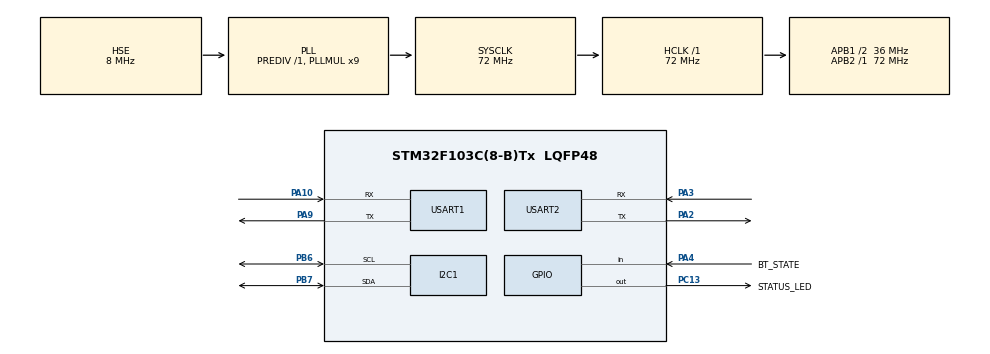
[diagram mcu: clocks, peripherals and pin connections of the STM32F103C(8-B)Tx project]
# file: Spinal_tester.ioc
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Dma.Request0=USART2_TX
Dma.Request1=USART2_RX
Dma.Request2=USART1_TX
Dma.Request3=USART1_RX
Dma.USART1_RX.3.Direction=DMA_PERIPH_TO_MEMORY
Dma.USART1_RX.3.Instance=DMA1_Channel5
Dma.USART1_RX.3.MemDataAlignment=DMA_MDATAALIGN_BYTE
Dma.USART1_RX.3.MemInc=DMA_MINC_ENABLE
Dma.USART1_RX.3.Mode=DMA_CIRCULAR
Dma.USART1_RX.3.PeriphDataAlignment=DMA_PDATAALIGN_BYTE
Dma.USART1_RX.3.PeriphInc=DMA_PINC_DISABLE
Dma.USART1_RX.3.Priority=DMA_PRIORITY_MEDIUM
Dma.USART1_TX.2.Direction=DMA_MEMORY_TO_PERIPH
Dma.USART1_TX.2.Instance=DMA1_Channel4
Dma.USART1_TX.2.MemDataAlignment=DMA_MDATAALIGN_BYTE
Dma.USART1_TX.2.MemInc=DMA_MINC_ENABLE
Dma.USART1_TX.2.Mode=DMA_NORMAL
Dma.USART1_TX.2.PeriphDataAlignment=DMA_PDATAALIGN_BYTE
Dma.USART1_TX.2.PeriphInc=DMA_PINC_DISABLE
Dma.USART1_TX.2.Priority=DMA_PRIORITY_MEDIUM
Dma.USART2_RX.1.Direction=DMA_PERIPH_TO_MEMORY
Dma.USART2_RX.1.Instance=DMA1_Channel6
Dma.USART2_RX.1.MemDataAlignment=DMA_MDATAALIGN_BYTE
Dma.USART2_RX.1.MemInc=DMA_MINC_ENABLE
Dma.USART2_RX.1.Mode=DMA_CIRCULAR
Dma.USART2_RX.1.PeriphDataAlignment=DMA_PDATAALIGN_BYTE
Dma.USART2_RX.1.PeriphInc=DMA_PINC_DISABLE
Dma.USART2_RX.1.Priority=DMA_PRIORITY_MEDIUM
Dma.USART2_TX.0.Direction=DMA_MEMORY_TO_PERIPH
Dma.USART2_TX.0.Instance=DMA1_Channel7
Dma.USART2_TX.0.MemDataAlignment=DMA_MDATAALIGN_BYTE
Dma.USART2_TX.0.MemInc=DMA_MINC_ENABLE
Dma.USART2_TX.0.Mode=DMA_NORMAL
Dma.USART2_TX.0.PeriphDataAlignment=DMA_PDATAALIGN_BYTE
Dma.USART2_TX.0.PeriphInc=DMA_PINC_DISABLE
Dma.USART2_TX.0.Priority=DMA_PRIORITY_MEDIUM
FREERTOS.INCLUDE_vTaskDelayUntil=1
FREERTOS.Tasks01=defaultTask,0,128,StartDefaultTask,Default,NULL,Dynamic,NULL,NULL
Mcu.Family=STM32F1
Mcu.Name=STM32F103C(8-B)Tx
Mcu.Package=LQFP48
NVIC.DMA1_Channel4_IRQn=true\:6\:0\:true\:false\:true\:true\:false\:true\:true
NVIC.DMA1_Channel5_IRQn=true\:6\:0\:true\:false\:true\:true\:false\:true\:true
NVIC.DMA1_Channel6_IRQn=true\:6\:0\:true\:false\:true\:true\:false\:true\:true
NVIC.DMA1_Channel7_IRQn=true\:6\:0\:true\:false\:true\:true\:false\:true\:true
NVIC.PriorityGroup=NVIC_PRIORITYGROUP_4
NVIC.TIM2_IRQn=true\:5\:0\:true\:false\:true\:true\:true\:true\:true
NVIC.TIM3_IRQn=true\:6\:0\:true\:false\:true\:true\:true\:true\:true
NVIC.TIM4_IRQn=true\:15\:0\:false\:false\:true\:false\:false\:true\:true
NVIC.TimeBase=TIM4_IRQn
NVIC.TimeBaseIP=TIM4
NVIC.USART1_IRQn=true\:6\:0\:true\:false\:true\:true\:false\:true\:true
NVIC.USART2_IRQn=true\:6\:0\:true\:false\:true\:true\:false\:true\:true
PA10.Mode=Asynchronous
PA10.Signal=USART1_RX
PA13.Mode=Serial_Wire
PA13.Signal=SYS_JTMS-SWDIO
PA14.Mode=Serial_Wire
PA14.Signal=SYS_JTCK-SWCLK
PA2.Mode=Asynchronous
PA2.Signal=USART2_TX
PA3.Mode=Asynchronous
PA3.Signal=USART2_RX
PA4.GPIO_Label=BT_STATE
PA4.GPIO_PuPd=GPIO_PULLDOWN
PA4.Signal=GPIO_Input
PA9.Mode=Asynchronous
PA9.Signal=USART1_TX
PB6.Mode=I2C
PB6.Signal=I2C1_SCL
PB7.Mode=I2C
PB7.Signal=I2C1_SDA
PC13.GPIO_Label=STATUS_LED
PC13.PinState=GPIO_PIN_SET
PC13.Signal=GPIO_Output
PD0-OSC_IN.Mode=HSE-External-Oscillator
PD0-OSC_IN.Signal=RCC_OSC_IN
PD1-OSC_OUT.Mode=HSE-External-Oscillator
PD1-OSC_OUT.Signal=RCC_OSC_OUT
ProjectManager.HeapSize=0x200
ProjectManager.StackSize=0x400
ProjectManager.TargetToolchain=CMake
RCC.AHBFreq_Value=72000000
RCC.APB1CLKDivider=RCC_HCLK_DIV2
RCC.APB1Freq_Value=36000000
RCC.APB1TimFreq_Value=72000000
RCC.APB2Freq_Value=72000000
RCC.APB2TimFreq_Value=72000000
RCC.HCLKFreq_Value=72000000
RCC.PLLMUL=RCC_PLL_MUL9
RCC.PLLSourceVirtual=RCC_PLLSOURCE_HSE
RCC.SYSCLKFreq_VALUE=72000000
RCC.SYSCLKSource=RCC_SYSCLKSOURCE_PLLCLK
RCC.USBFreq_Value=72000000
TIM2.Period=65535
TIM2.Prescaler=71
TIM3.Period=199
TIM3.Prescaler=7199
USART1.VirtualMode=VM_ASYNC
USART2.VirtualMode=VM_ASYNC
VP_FREERTOS_VS_CMSIS_V1.Mode=CMSIS_V1
VP_SYS_VS_tim4.Mode=TIM4
VP_TIM2_VS_ClockSourceINT.Mode=Internal
VP_TIM3_VS_ClockSourceINT.Mode=Internal
board=custom

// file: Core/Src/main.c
/* USER CODE BEGIN Header */
/**
  ******************************************************************************
  * @file           : main.c
  * @brief          : Main program body
  ******************************************************************************
  * @attention
  *
  * Copyright (c) 2026 STMicroelectronics.
  * All rights reserved.
  *
  * This software is licensed under terms that can be found in the LICENSE file
  * in the root directory of this software component.
  * If no LICENSE file comes with this software, it is provided AS-IS.
  *
  ******************************************************************************
  */
/* USER CODE END Header */
#include "main.h"
#include "cmsis_os.h"

/* USER CODE BEGIN Includes */
#include "app_bootstrap.h"
#include "bsp_time.h"
#if defined(SPINAL_I2C_DIAG)
#include "i2c_diagnostic.h"
#endif

/* USER CODE END Includes */

I2C_HandleTypeDef hi2c1;

TIM_HandleTypeDef htim2;
TIM_HandleTypeDef htim3;

UART_HandleTypeDef huart1;
DMA_HandleTypeDef hdma_usart1_tx;
DMA_HandleTypeDef hdma_usart1_rx;
UART_HandleTypeDef huart2;
DMA_HandleTypeDef hdma_usart2_tx;
DMA_HandleTypeDef hdma_usart2_rx;

osThreadId defaultTaskHandle;

void SystemClock_Config(void);
static void MX_GPIO_Init(void);
static void MX_DMA_Init(void);
static void MX_I2C1_Init(void);
static void MX_USART1_UART_Init(void);
static void MX_USART2_UART_Init(void);
static void MX_TIM2_Init(void);
static void MX_TIM3_Init(void);
void StartDefaultTask(void const * argument);

int main(void)
{

  /* MCU Configuration--------------------------------------------------------*/

  /* Reset of all peripherals, Initializes the Flash interface and the Systick. */
  HAL_Init();

  /* Configure the system clock */
  SystemClock_Config();

  /* USER CODE BEGIN SysInit */

#if defined(SPINAL_I2C_DIAG)
  MX_DMA_Init();
  MX_USART1_UART_Init();
  MX_I2C1_Init();
  I2cDiagnostic_Run(&hi2c1, &huart1);
#endif

#if defined(SPINAL_UART_SMOKE) && SPINAL_UART_SMOKE
  static const uint8_t message[] = "STM32 UART TEST OK\r\n";

  /* UART MSP setup needs the DMA clock even though this test uses polling. */
  MX_DMA_Init();
  MX_USART1_UART_Init();
  MX_USART2_UART_Init();

  /* Bound each send so a failed port does not block testing the other one. */
  for (;;)
  {
    (void)HAL_UART_Transmit(&huart1, message, sizeof(message) - 1U, 20U);
    (void)HAL_UART_Transmit(&huart2, message, sizeof(message) - 1U, 20U);
    HAL_Delay(1000U);
  }
#endif

  /* USER CODE END SysInit */

  /* Initialize all configured peripherals */
  MX_GPIO_Init();
  MX_DMA_Init();
  MX_I2C1_Init();
  MX_USART1_UART_Init();
  MX_USART2_UART_Init();
  MX_TIM2_Init();
  MX_TIM3_Init();

  /* Create the thread(s) */
  /* definition and creation of defaultTask */
  osThreadDef(defaultTask, StartDefaultTask, osPriorityNormal, 0, 128);
  defaultTaskHandle = osThreadCreate(osThread(defaultTask), NULL);

  /* Start scheduler */
  osKernelStart();

  /* We should never get here as control is now taken by the scheduler */

  /* Infinite loop */
  while (1)
  {

  }
}

void SystemClock_Config(void)
{
  RCC_OscInitTypeDef RCC_OscInitStruct = {0};
  RCC_ClkInitTypeDef RCC_ClkInitStruct = {0};

  /** Initializes the RCC Oscillators according to the specified parameters
  * in the RCC_OscInitTypeDef structure.
  */
  RCC_OscInitStruct.OscillatorType = RCC_OSCILLATORTYPE_HSE;
  RCC_OscInitStruct.HSEState = RCC_HSE_ON;
  RCC_OscInitStruct.HSEPredivValue = RCC_HSE_PREDIV_DIV1;
  RCC_OscInitStruct.HSIState = RCC_HSI_ON;
  RCC_OscInitStruct.PLL.PLLState = RCC_PLL_ON;
  RCC_OscInitStruct.PLL.PLLSource = RCC_PLLSOURCE_HSE;
  RCC_OscInitStruct.PLL.PLLMUL = RCC_PLL_MUL9;
  if (HAL_RCC_OscConfig(&RCC_OscInitStruct) != HAL_OK)
  {
    Error_Handler();
  }

  /** Initializes the CPU, AHB and APB buses clocks
  */
  RCC_ClkInitStruct.ClockType = RCC_CLOCKTYPE_HCLK|RCC_CLOCKTYPE_SYSCLK
                              |RCC_CLOCKTYPE_PCLK1|RCC_CLOCKTYPE_PCLK2;
  RCC_ClkInitStruct.SYSCLKSource = RCC_SYSCLKSOURCE_PLLCLK;
  RCC_ClkInitStruct.AHBCLKDivider = RCC_SYSCLK_DIV1;
  RCC_ClkInitStruct.APB1CLKDivider = RCC_HCLK_DIV2;
  RCC_ClkInitStruct.APB2CLKDivider = RCC_HCLK_DIV1;

  if (HAL_RCC_ClockConfig(&RCC_ClkInitStruct, FLASH_LATENCY_2) != HAL_OK)
  {
    Error_Handler();
  }
}

static void MX_I2C1_Init(void)
{

  hi2c1.Instance = I2C1;
  hi2c1.Init.ClockSpeed = 100000;
  hi2c1.Init.DutyCycle = I2C_DUTYCYCLE_2;
  hi2c1.Init.OwnAddress1 = 0;
  hi2c1.Init.AddressingMode = I2C_ADDRESSINGMODE_7BIT;
  hi2c1.Init.DualAddressMode = I2C_DUALADDRESS_DISABLE;
  hi2c1.Init.OwnAddress2 = 0;
  hi2c1.Init.GeneralCallMode = I2C_GENERALCALL_DISABLE;
  hi2c1.Init.NoStretchMode = I2C_NOSTRETCH_DISABLE;
  if (HAL_I2C_Init(&hi2c1) != HAL_OK)
  {
    Error_Handler();
  }

}

static void MX_TIM2_Init(void)
{

  TIM_ClockConfigTypeDef sClockSourceConfig = {0};
  TIM_MasterConfigTypeDef sMasterConfig = {0};

  htim2.Instance = TIM2;
  htim2.Init.Prescaler = 71;
  htim2.Init.CounterMode = TIM_COUNTERMODE_UP;
  htim2.Init.Period = 65535;
  htim2.Init.ClockDivision = TIM_CLOCKDIVISION_DIV1;
  htim2.Init.AutoReloadPreload = TIM_AUTORELOAD_PRELOAD_DISABLE;
  if (HAL_TIM_Base_Init(&htim2) != HAL_OK)
  {
    Error_Handler();
  }
  sClockSourceConfig.ClockSource = TIM_CLOCKSOURCE_INTERNAL;
  if (HAL_TIM_ConfigClockSource(&htim2, &sClockSourceConfig) != HAL_OK)
  {
    Error_Handler();
  }
  sMasterConfig.MasterOutputTrigger = TIM_TRGO_RESET;
  sMasterConfig.MasterSlaveMode = TIM_MASTERSLAVEMODE_DISABLE;
  if (HAL_TIMEx_MasterConfigSynchronization(&htim2, &sMasterConfig) != HAL_OK)
  {
    Error_Handler();
  }

}

static void MX_TIM3_Init(void)
{

  TIM_ClockConfigTypeDef sClockSourceConfig = {0};
  TIM_MasterConfigTypeDef sMasterConfig = {0};

  htim3.Instance = TIM3;
  htim3.Init.Prescaler = 7199;
  htim3.Init.CounterMode = TIM_COUNTERMODE_UP;
  htim3.Init.Period = 199;
  htim3.Init.ClockDivision = TIM_CLOCKDIVISION_DIV1;
  htim3.Init.AutoReloadPreload = TIM_AUTORELOAD_PRELOAD_DISABLE;
  if (HAL_TIM_Base_Init(&htim3) != HAL_OK)
  {
    Error_Handler();
  }
  sClockSourceConfig.ClockSource = TIM_CLOCKSOURCE_INTERNAL;
  if (HAL_TIM_ConfigClockSource(&htim3, &sClockSourceConfig) != HAL_OK)
  {
    Error_Handler();
  }
  sMasterConfig.MasterOutputTrigger = TIM_TRGO_RESET;
  sMasterConfig.MasterSlaveMode = TIM_MASTERSLAVEMODE_DISABLE;
  if (HAL_TIMEx_MasterConfigSynchronization(&htim3, &sMasterConfig) != HAL_OK)
  {
    Error_Handler();
  }

}

static void MX_USART1_UART_Init(void)
{
  huart1.Instance = USART1;
  huart1.Init.BaudRate = 115200;
  huart1.Init.WordLength = UART_WORDLENGTH_8B;
  huart1.Init.StopBits = UART_STOPBITS_1;
  huart1.Init.Parity = UART_PARITY_NONE;
  huart1.Init.Mode = UART_MODE_TX_RX;
  huart1.Init.HwFlowCtl = UART_HWCONTROL_NONE;
  huart1.Init.OverSampling = UART_OVERSAMPLING_16;
  if (HAL_UART_Init(&huart1) != HAL_OK) Error_Handler();
}

static void MX_USART2_UART_Init(void)
{

  huart2.Instance = USART2;
  huart2.Init.BaudRate = 115200;
  huart2.Init.WordLength = UART_WORDLENGTH_8B;
  huart2.Init.StopBits = UART_STOPBITS_1;
  huart2.Init.Parity = UART_PARITY_NONE;
  huart2.Init.Mode = UART_MODE_TX_RX;
  huart2.Init.HwFlowCtl = UART_HWCONTROL_NONE;
  huart2.Init.OverSampling = UART_OVERSAMPLING_16;
  if (HAL_UART_Init(&huart2) != HAL_OK)
  {
    Error_Handler();
  }

}

static void MX_DMA_Init(void)
{

  /* DMA controller clock enable */
  __HAL_RCC_DMA1_CLK_ENABLE();

  /* DMA interrupt init */
  HAL_NVIC_SetPriority(DMA1_Channel4_IRQn, 6, 0);
  HAL_NVIC_EnableIRQ(DMA1_Channel4_IRQn);
  HAL_NVIC_SetPriority(DMA1_Channel5_IRQn, 6, 0);
  HAL_NVIC_EnableIRQ(DMA1_Channel5_IRQn);
  /* DMA1_Channel6_IRQn interrupt configuration */
  HAL_NVIC_SetPriority(DMA1_Channel6_IRQn, 6, 0);
  HAL_NVIC_EnableIRQ(DMA1_Channel6_IRQn);
  /* DMA1_Channel7_IRQn interrupt configuration */
  HAL_NVIC_SetPriority(DMA1_Channel7_IRQn, 6, 0);
  HAL_NVIC_EnableIRQ(DMA1_Channel7_IRQn);

}

static void MX_GPIO_Init(void)
{

  /* GPIO Ports Clock Enable */
  __HAL_RCC_GPIOD_CLK_ENABLE();
  __HAL_RCC_GPIOA_CLK_ENABLE();
  __HAL_RCC_GPIOB_CLK_ENABLE();

  __HAL_RCC_GPIOC_CLK_ENABLE();
  HAL_GPIO_WritePin(GPIOC, GPIO_PIN_13, GPIO_PIN_SET);
  GPIO_InitTypeDef gpio = {0};
  gpio.Pin = GPIO_PIN_13; gpio.Mode = GPIO_MODE_OUTPUT_PP;
  gpio.Speed = GPIO_SPEED_FREQ_LOW; HAL_GPIO_Init(GPIOC, &gpio);
  gpio.Pin = GPIO_PIN_4; gpio.Mode = GPIO_MODE_INPUT; gpio.Pull = GPIO_PULLDOWN;
  HAL_GPIO_Init(GPIOA, &gpio);
}

void StartDefaultTask(void const * argument)
{
  /* USER CODE BEGIN 5 */
  AppBootstrapConfig app_config =
  {
    .i2c = &hi2c1,
    .uart_pc = &huart1,
    .uart_bt = &huart2,
    .timestamp_timer = &htim2
  };

  (void)argument;

  if (AppBootstrap_Start(&app_config) != APP_STATUS_OK)
  {
    /* A bootstrap failure is fatal because application task ownership is undefined. */
    Error_Handler();
  }

  /* CubeMX owns this bootstrap task; application tasks are statically allocated. */
  vTaskDelete(NULL);
  /* USER CODE END 5 */
}

void HAL_TIM_PeriodElapsedCallback(TIM_HandleTypeDef *htim)
{
  if (htim->Instance == TIM4)
  {
    HAL_IncTick();
  }
  /* USER CODE BEGIN Callback 1 */
  BspTime_OnOverflow(htim);

  /* USER CODE END Callback 1 */
}

void Error_Handler(void)
{
  __disable_irq();
  while (1)
  {
  }
}
